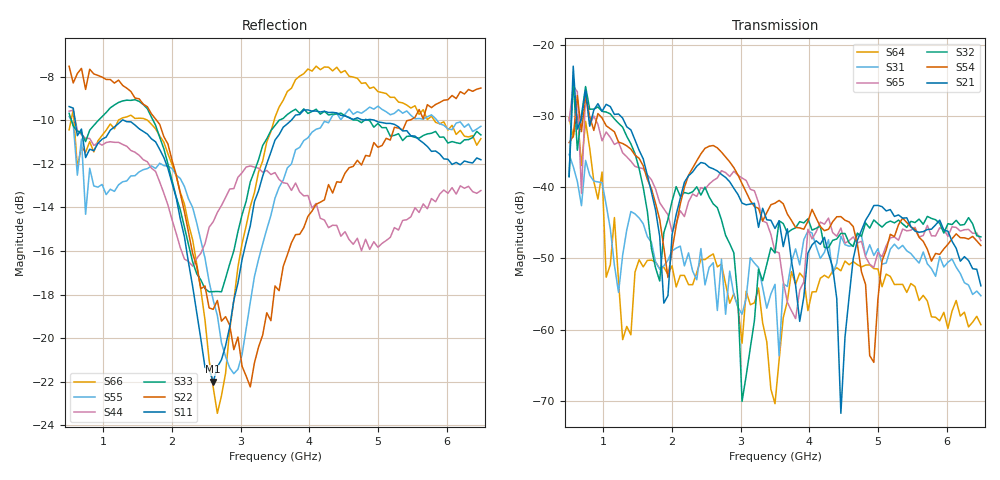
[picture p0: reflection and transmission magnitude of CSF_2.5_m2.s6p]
!Keysight Technologies,M9804A,MY58100912,A.14.10.03
!Date: Thursday, April 27, 2023 10:28:33
!Correction: S11(C  6-Port  )
!S12(C  6-Port  )
!S13(C  6-Port  )
!S14(C  6-Port  )
!S15(C  6-Port  )
!S16(C  6-Port  )
!S21(C  6-Port  )
!S22(C  6-Port  )
!S23(C  6-Port  )
!S24(C  6-Port  )
!S25(C  6-Port  )
!S26(C  6-Port  )
!S31(C  6-Port  )
!S32(C  6-Port  )
!S33(C  6-Port  )
!S34(C  6-Port  )
!S35(C  6-Port  )
!S36(C  6-Port  )
!S41(C  6-Port  )
!S42(C  6-Port  )
!S43(C  6-Port  )
!S44(C  6-Port  )
!S45(C  6-Port  )
!S46(C  6-Port  )
!S51(C  6-Port  )
!S52(C  6-Port  )
!S53(C  6-Port  )
!S54(C  6-Port  )
!S55(C  6-Port  )
!S56(C  6-Port  )
!S61(C  6-Port  )
!S62(C  6-Port  )
!S63(C  6-Port  )
!S64(C  6-Port  )
!S65(C  6-Port  )
!S66(C  6-Port  )
!S6P File: Measurement: :
# Hz S  RI  R 50
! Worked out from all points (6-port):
!   101 points, 500 MHz to 6.5 GHz, reference 50 ohm
!   strongest paths, dB at 500 MHz, 2 GHz, 3.5 GHz, 5 GHz, 6.5 GHz:
!     S21: -38.5, -46.7, -45.8, -42.5, -53.8
!     S54: -33.7, -48.9, -42.2, -55.7, -48.2
!     S32: -38.5, -41.9, -49.2, -45.1, -47.0
!     S65: -30.6, -46.2, -49.0, -49.2, -47.5
!     S31: -35.4, -48.9, -53.6, -48.6, -55.2
!     S64: -30.2, -51.0, -70.4, -51.5, -59.3
!   lowest |S11| = -22.0 dB at 2.6 GHz (marker M1), VSWR 1.17, Z = 42.9 + j2.06 ohm
!   |S11| at or under -10 dB: 586.5 MHz to 1.272 GHz (685.7 MHz wide, 73.8 % of centre); 1.295 GHz to 3.737 GHz (2.441 GHz wide, 97 % of centre); 4.95 GHz to end of sweep
